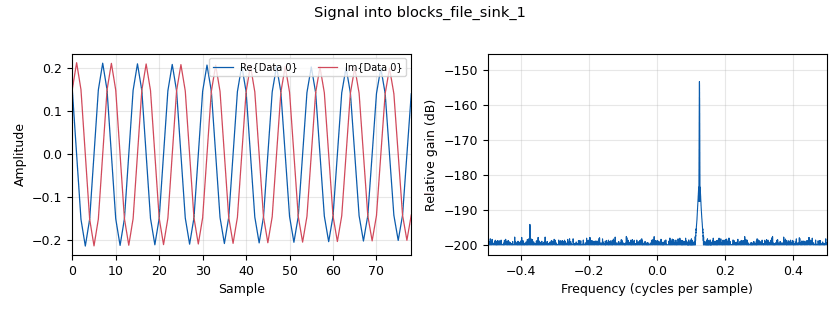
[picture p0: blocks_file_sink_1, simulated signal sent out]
<?xml version='1.0' encoding='utf-8'?>
<?grc format='1' created='3.7.13'?>
<flow_graph>
<block>
<key>options</key>
<param><key>id</key><value>generate_waveform_sine_gauss</value></param>
<param><key>author</key><value>Krishna Makhija</value></param>
<param><key>description</key><value>GR flograph for generating a calibration waveform. The waveform will be ON/OFF keyed to mitigate multipath, enable phase consistency and averaging. This flowgraph will generate a Gaussiam modulated pulsed sine waveform.</value></param>
<param><key>generate_options</key><value>qt_gui</value></param>
<param><key>realtime_scheduling</key><value>1</value></param>
<param><key>run_options</key><value>run</value></param>
</block>
<block>
<key>variable</key>
<param><key>id</key><value>OFF</value></param>
<param><key>comment</key><value>Number of 
samples that
should constitue
the OFF part of
the pulse</value></param>
<param><key>value</key><value>15*ON</value></param>
</block>
<block>
<key>variable</key>
<param><key>id</key><value>ON</value></param>
<param><key>comment</key><value>Number of 
samples that 
should constitute 
the ON part 
of the pulse</value></param>
<param><key>value</key><value>4096</value></param>
</block>
<block>
<key>variable</key>
<param><key>id</key><value>Q</value></param>
<param><key>value</key><value>head*4</value></param>
</block>
<block>
<key>variable</key>
<param><key>id</key><value>center_freq</value></param>
<param><key>value</key><value>150.96e6</value></param>
</block>
<block>
<key>variable</key>
<param><key>id</key><value>freq</value></param>
<param><key>value</key><value>center_freq - wave_freq</value></param>
</block>
<block>
<key>variable</key>
<param><key>id</key><value>gauss_envelope</value></param>
<param><key>comment</key><value>For generating a Gaussian enveloped waveform.</value></param>
<param><key>value</key><value>np.exp(-(2*np.pi*freq*t/Q)**2)</value></param>
</block>
<block>
<key>variable</key>
<param><key>id</key><value>head</value></param>
<param><key>comment</key><value>Total number of
samples to be 
written to file</value></param>
<param><key>value</key><value>(ON+OFF)</value></param>
</block>
<block>
<key>variable</key>
<param><key>id</key><value>min_buffer</value></param>
<param><key>value</key><value>512*4096</value></param>
</block>
<block>
<key>variable</key>
<param><key>id</key><value>per_WP_time</value></param>
<param><key>comment</key><value>Time to calibrate per WP.</value></param>
<param><key>value</key><value>pulse_TX_time * pulses</value></param>
</block>
<block>
<key>variable</key>
<param><key>id</key><value>pulse_OFF_time</value></param>
<param><key>value</key><value>OFF/samp_rate</value></param>
</block>
<block>
<key>variable</key>
<param><key>id</key><value>pulse_ON_time</value></param>
<param><key>value</key><value>ON/samp_rate</value></param>
</block>
<block>
<key>variable</key>
<param><key>id</key><value>pulse_TX_time</value></param>
<param><key>comment</key><value>Time for each pulse</value></param>
<param><key>value</key><value>(ON+OFF)/samp_rate</value></param>
</block>
<block>
<key>variable</key>
<param><key>id</key><value>pulses</value></param>
<param><key>comment</key><value>Enter number of
pulses being used
in actual system</value></param>
<param><key>value</key><value>96*2</value></param>
</block>
<block>
<key>variable</key>
<param><key>id</key><value>ring_buffer_size</value></param>
<param><key>value</key><value>4096</value></param>
</block>
<block>
<key>variable</key>
<param><key>id</key><value>samp_rate</value></param>
<param><key>value</key><value>7.68e6</value></param>
</block>
<block>
<key>variable</key>
<param><key>id</key><value>samps_per_period</value></param>
<param><key>value</key><value>wave_samp_rate/wave_freq</value></param>
</block>
<block>
<key>variable</key>
<param><key>id</key><value>stopTime</value></param>
<param><key>value</key><value>ON/samp_rate</value></param>
</block>
<block>
<key>variable</key>
<param><key>id</key><value>t</value></param>
<param><key>value</key><value>np.linspace(-stopTime/2, stopTime/2, ON)</value></param>
</block>
<block>
<key>variable_tag_object</key>
<param><key>id</key><value>variable_tag_object_0</value></param>
<param><key>key</key><value>pmt.intern("key")</value></param>
<param><key>offset</key><value>0</value></param>
<param><key>src</key><value>pmt.intern("src")</value></param>
<param><key>value</key><value>pmt.intern("value")</value></param>
</block>
<block>
<key>variable</key>
<param><key>id</key><value>wave_freq</value></param>
<param><key>value</key><value>samp_rate/8</value></param>
</block>
<block>
<key>variable</key>
<param><key>id</key><value>wave_samp_rate</value></param>
<param><key>value</key><value>samp_rate</value></param>
</block>
<block>
<key>analog_sig_source_x</key>
<param><key>id</key><value>analog_sig_source_x_0</value></param>
<param><key>amp</key><value>1</value></param>
<param><key>freq</key><value>wave_freq</value></param>
<param><key>offset</key><value>0</value></param>
<param><key>type</key><value>complex</value></param>
<param><key>samp_rate</key><value>wave_samp_rate</value></param>
<param><key>waveform</key><value>analog.GR_COS_WAVE</value></param>
</block>
<block>
<key>blocks_add_xx</key>
<param><key>id</key><value>blocks_add_xx_0</value></param>
<param><key>_enabled</key><value>0</value></param>
<param><key>type</key><value>complex</value></param>
</block>
<block>
<key>blocks_file_sink</key>
<param><key>id</key><value>blocks_file_sink_1</value></param>
<param><key>file</key><value>/home/kmakhija/catkin_ws/src/Drone-Project-code/Payload Computer/sine_gauss_waveform</value></param>
<param><key>type</key><value>complex</value></param>
</block>
<block>
<key>blocks_file_source</key>
<param><key>id</key><value>blocks_file_source_1</value></param>
<param><key>_enabled</key><value>0</value></param>
<param><key>file</key><value>/home/kmakhija/catkin_ws/src/Drone-Project-code/Payload Computer/sine_gauss_waveform</value></param>
<param><key>type</key><value>complex</value></param>
<param><key>repeat</key><value>True</value></param>
</block>
<block>
<key>blocks_head</key>
<param><key>id</key><value>blocks_head_0_0_0</value></param>
<param><key>num_items</key><value>head</value></param>
<param><key>type</key><value>complex</value></param>
</block>
<block>
<key>blocks_multiply_const_vxx</key>
<param><key>id</key><value>blocks_multiply_const_vxx_0</value></param>
<param><key>const</key><value>0.5</value></param>
<param><key>type</key><value>complex</value></param>
</block>
<block>
<key>blocks_multiply_const_vxx</key>
<param><key>id</key><value>blocks_multiply_const_vxx_1</value></param>
<param><key>const</key><value>gauss_envelope</value></param>
<param><key>type</key><value>complex</value></param>
<param><key>maxoutbuf</key><value>4096</value></param>
<param><key>minoutbuf</key><value>4096</value></param>
<param><key>vlen</key><value>ring_buffer_size</value></param>
</block>
<block>
<key>blocks_multiply_xx</key>
<param><key>id</key><value>blocks_multiply_xx_0</value></param>
<param><key>type</key><value>complex</value></param>
<param><key>maxoutbuf</key><value>ring_buffer_size</value></param>
<param><key>minoutbuf</key><value>ring_buffer_size</value></param>
</block>
<block>
<key>blocks_stream_to_vector</key>
<param><key>id</key><value>blocks_stream_to_vector_0</value></param>
<param><key>type</key><value>complex</value></param>
<param><key>num_items</key><value>ring_buffer_size</value></param>
</block>
<block>
<key>blocks_throttle</key>
<param><key>id</key><value>blocks_throttle_0</value></param>
<param><key>maxoutbuf</key><value>ring_buffer_size</value></param>
<param><key>minoutbuf</key><value>ring_buffer_size</value></param>
<param><key>samples_per_second</key><value>samp_rate</value></param>
<param><key>type</key><value>complex</value></param>
</block>
<block>
<key>blocks_throttle</key>
<param><key>id</key><value>blocks_throttle_0_0</value></param>
<param><key>_enabled</key><value>0</value></param>
<param><key>maxoutbuf</key><value>ring_buffer_size</value></param>
<param><key>minoutbuf</key><value>ring_buffer_size</value></param>
<param><key>samples_per_second</key><value>samp_rate</value></param>
<param><key>type</key><value>complex</value></param>
</block>
<block>
<key>blocks_vector_source_x</key>
<param><key>id</key><value>blocks_vector_source_x_0</value></param>
<param><key>maxoutbuf</key><value>ring_buffer_size</value></param>
<param><key>minoutbuf</key><value>ring_buffer_size</value></param>
<param><key>type</key><value>complex</value></param>
<param><key>repeat</key><value>True</value></param>
<param><key>vector</key><value>np.hstack((np.zeros(OFF), np.ones(ON)))</value></param>
</block>
<block>
<key>blocks_vector_source_x</key>
<param><key>id</key><value>blocks_vector_source_x_1</value></param>
<param><key>comment</key><value>Create an initialization pulse that has higher amplitude for 
identification during post processing.</value></param>
<param><key>_enabled</key><value>0</value></param>
<param><key>type</key><value>complex</value></param>
<param><key>repeat</key><value>True</value></param>
<param><key>vector</key><value>np.hstack((2*np.ones(ON), np.zeros(OFF), np.zeros(pulses*PASS)))</value></param>
</block>
<block>
<key>blocks_vector_to_stream</key>
<param><key>id</key><value>blocks_vector_to_stream_0</value></param>
<param><key>type</key><value>complex</value></param>
<param><key>num_items</key><value>ring_buffer_size</value></param>
</block>
<block>
<key>import</key>
<param><key>id</key><value>numpy</value></param>
<param><key>import</key><value>import numpy as np</value></param>
</block>
<block>
<key>qtgui_time_sink_x</key>
<param><key>id</key><value>qtgui_time_sink_x_0</value></param>
<param><key>ctrlpanel</key><value>True</value></param>
<param><key>_enabled</key><value>0</value></param>
<param><key>color1</key><value>"blue"</value></param>
<param><key>label1</key><value></value></param>
<param><key>color2</key><value>"red"</value></param>
<param><key>label2</key><value></value></param>
<param><key>size</key><value>1024*1024</value></param>
<param><key>srate</key><value>samp_rate</value></param>
<param><key>type</key><value>complex</value></param>
</block>
<connection><source_block_id>analog_sig_source_x_0</source_block_id><sink_block_id>blocks_multiply_xx_0</sink_block_id><source_key>0</source_key><sink_key>0</sink_key></connection>
<connection><source_block_id>blocks_add_xx_0</source_block_id><sink_block_id>blocks_multiply_xx_0</sink_block_id><source_key>0</source_key><sink_key>1</sink_key></connection>
<connection><source_block_id>blocks_file_source_1</source_block_id><sink_block_id>blocks_throttle_0_0</sink_block_id><source_key>0</source_key><sink_key>0</sink_key></connection>
<connection><source_block_id>blocks_head_0_0_0</source_block_id><sink_block_id>blocks_stream_to_vector_0</sink_block_id><source_key>0</source_key><sink_key>0</sink_key></connection>
<connection><source_block_id>blocks_multiply_const_vxx_0</source_block_id><sink_block_id>blocks_head_0_0_0</sink_block_id><source_key>0</source_key><sink_key>0</sink_key></connection>
<connection><source_block_id>blocks_multiply_const_vxx_1</source_block_id><sink_block_id>blocks_vector_to_stream_0</sink_block_id><source_key>0</source_key><sink_key>0</sink_key></connection>
<connection><source_block_id>blocks_multiply_xx_0</source_block_id><sink_block_id>blocks_throttle_0</sink_block_id><source_key>0</source_key><sink_key>0</sink_key></connection>
<connection><source_block_id>blocks_stream_to_vector_0</source_block_id><sink_block_id>blocks_multiply_const_vxx_1</sink_block_id><source_key>0</source_key><sink_key>0</sink_key></connection>
<connection><source_block_id>blocks_throttle_0</source_block_id><sink_block_id>blocks_multiply_const_vxx_0</sink_block_id><source_key>0</source_key><sink_key>0</sink_key></connection>
<connection><source_block_id>blocks_throttle_0_0</source_block_id><sink_block_id>qtgui_time_sink_x_0</sink_block_id><source_key>0</source_key><sink_key>0</sink_key></connection>
<connection><source_block_id>blocks_vector_source_x_0</source_block_id><sink_block_id>blocks_add_xx_0</sink_block_id><source_key>0</source_key><sink_key>0</sink_key></connection>
<connection><source_block_id>blocks_vector_source_x_0</source_block_id><sink_block_id>blocks_multiply_xx_0</sink_block_id><source_key>0</source_key><sink_key>1</sink_key></connection>
<connection><source_block_id>blocks_vector_source_x_1</source_block_id><sink_block_id>blocks_add_xx_0</sink_block_id><source_key>0</source_key><sink_key>1</sink_key></connection>
<connection><source_block_id>blocks_vector_to_stream_0</source_block_id><sink_block_id>blocks_file_sink_1</sink_block_id><source_key>0</source_key><sink_key>0</sink_key></connection>
</flow_graph>
